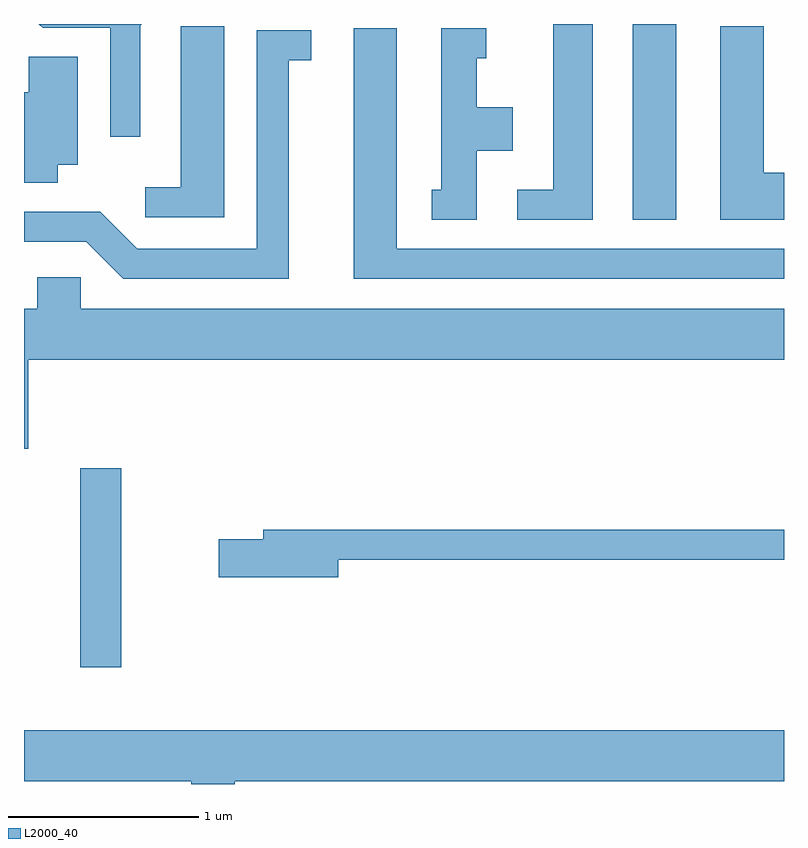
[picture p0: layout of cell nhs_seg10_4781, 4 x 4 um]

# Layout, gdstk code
import gdstk
lib = gdstk.Library(unit=1e-6, precision=1e-09)
def R(c, l, rs):  # rectangles x0, y0, x1, y1
    for r in rs: c.add(gdstk.rectangle(r[:2], r[2:], *l))
def P(c, l, *ps):  # polygons
    for p in ps: c.add(gdstk.Polygon(p, *l))
L2000_40 = (2000, 40)

nhs_seg10_4781 = lib.new_cell('nhs_seg10_4781')
R(nhs_seg10_4781, L2000_40, [(325.906,2161.136,326.124,2162.184), (328.816,2163.491,329.044,2164.522)])
P(nhs_seg10_4781, L2000_40, [(326.224,2164.514),(326.232,2164.522),(325.688,2164.522),(325.709,2164.501),(326.066,2164.501),(326.066,2163.928),(326.224,2163.928)],
  [(328.604,2164.522),(328.396,2164.522),(328.396,2163.649),(328.208,2163.649),(328.208,2163.491),(328.604,2163.491)],
  [(326.664,2164.509),(326.436,2164.509),(326.436,2163.664),(326.248,2163.664),(326.248,2163.506),(326.664,2163.506)],
  [(329.611,2163.739),(329.504,2163.739),(329.504,2164.509),(329.276,2164.509),(329.276,2163.491),(329.611,2163.491)],
  [(327.994,2163.856),(328.184,2163.856),(328.184,2164.084),(327.994,2164.084),(327.994,2164.341),(328.043,2164.341),(328.043,2164.499),(327.806,2164.499),(327.806,2163.649),(327.758,2163.649),(327.758,2163.491),(327.994,2163.491)],
  [(329.611,2163.339),(327.574,2163.339),(327.574,2164.499),(327.346,2164.499),(327.346,2163.181),(329.611,2163.181)],
  [(327.004,2164.331),(327.123,2164.331),(327.123,2164.489),(326.836,2164.489),(326.836,2163.339),(326.207,2163.339),(326.012,2163.534),(325.611,2163.534),(325.611,2163.376),(325.939,2163.376),(326.134,2163.181),(327.004,2163.181)],
  [(325.789,2163.781),(325.894,2163.781),(325.894,2164.349),(325.636,2164.349),(325.636,2164.164),(325.611,2164.164),(325.611,2163.686),(325.789,2163.686)],
  [(325.634,2162.756),(329.611,2162.756),(329.611,2163.024),(325.909,2163.024),(325.909,2163.189),(325.681,2163.189),(325.681,2163.024),(325.611,2163.024),(325.611,2162.286),(325.634,2162.286)],
  [(327.264,2161.701),(329.611,2161.701),(329.611,2161.859),(326.871,2161.859),(326.871,2161.809),(326.636,2161.809),(326.636,2161.611),(327.264,2161.611)],
  [(326.719,2160.536),(329.611,2160.536),(329.611,2160.804),(325.611,2160.804),(325.611,2160.536),(326.491,2160.536),(326.491,2160.522),(326.719,2160.522)])

lib.write_gds('nhs_seg10_4781.gds')
